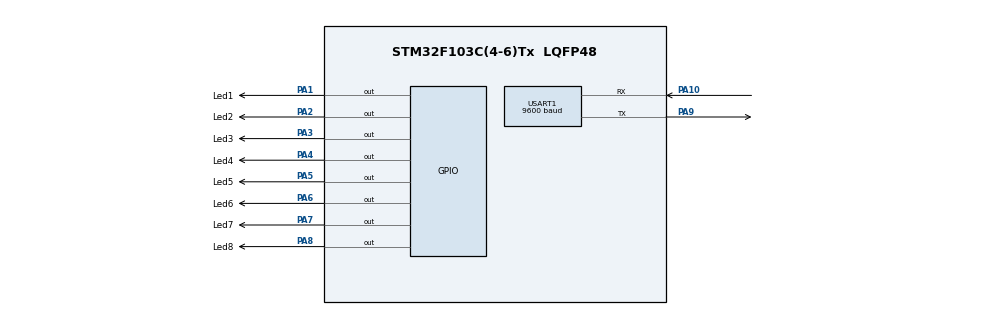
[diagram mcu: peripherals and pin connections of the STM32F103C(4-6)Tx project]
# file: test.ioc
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Mcu.Family=STM32F1
Mcu.Name=STM32F103C(4-6)Tx
Mcu.Package=LQFP48
NVIC.PriorityGroup=NVIC_PRIORITYGROUP_4
NVIC.USART1_IRQn=true\:0\:0\:false\:false\:true\:true\:true
PA1.GPIO_Label=Led1
PA1.Signal=GPIO_Output
PA10.Mode=Asynchronous
PA10.Signal=USART1_RX
PA13.Mode=Serial_Wire
PA13.Signal=SYS_JTMS-SWDIO
PA14.Mode=Serial_Wire
PA14.Signal=SYS_JTCK-SWCLK
PA2.GPIO_Label=Led2
PA2.Signal=GPIO_Output
PA3.GPIO_Label=Led3
PA3.Signal=GPIO_Output
PA4.GPIO_Label=Led4
PA4.Signal=GPIO_Output
PA5.GPIO_Label=Led5
PA5.Signal=GPIO_Output
PA6.GPIO_Label=Led6
PA6.Signal=GPIO_Output
PA7.GPIO_Label=Led7
PA7.Signal=GPIO_Output
PA8.GPIO_Label=Led8
PA8.Signal=GPIO_Output
PA9.Mode=Asynchronous
PA9.Signal=USART1_TX
ProjectManager.HeapSize=0x200
ProjectManager.StackSize=0x400
ProjectManager.TargetToolchain=MDK-ARM V5
RCC.APB1Freq_Value=8000000
RCC.APB2Freq_Value=8000000
USART1.BaudRate=9600
USART1.VirtualMode=VM_ASYNC
board=custom

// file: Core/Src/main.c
/* USER CODE BEGIN Header */
/**
  ******************************************************************************
  * @file           : main.c
  * @brief          : Main program body
  ******************************************************************************
  * @attention
  *
  * <h2><center>&copy; Copyright (c) 2023 STMicroelectronics.
  * All rights reserved.</center></h2>
  *
  * This software component is licensed by ST under BSD 3-Clause license,
  * the "License"; You may not use this file except in compliance with the
  * License. You may obtain a copy of the License at:
  *                        opensource.org/licenses/BSD-3-Clause
  *
  ******************************************************************************
  */
/* USER CODE END Header */
#include "main.h"

/* USER CODE BEGIN Includes */

uint8_t u8_TxBuff11[10] = "Led1 on ";
uint8_t u8_TxBuff10[10] = "Led1 off ";
uint8_t u8_TxBuff21[10] = "Led2 on ";
uint8_t u8_TxBuff20[10] = "Led2 off ";
uint8_t u8_TxBuff31[10] = "Led3 on ";
uint8_t u8_TxBuff30[10] = "Led3 off ";
uint8_t u8_TxBuff41[10] = "Led4 on ";
uint8_t u8_TxBuff40[10] = "Led4 off ";
uint8_t u8_TxBuff51[10] = "Led5 on ";
uint8_t u8_TxBuff50[10] = "Led5 off ";
uint8_t u8_TxBuff61[10] = "Led6 on ";
uint8_t u8_TxBuff60[10] = "Led6 off ";
uint8_t u8_TxBuff71[10] = "Led7 on ";
uint8_t u8_TxBuff70[10] = "Led7 off ";
uint8_t u8_TxBuff81[10] = "Led8 on ";
uint8_t u8_TxBuff80[10] = "Led8 off ";

volatile char RxBuff[15];
uint8_t Rx_Data;
volatile uint8_t rx_Index;
uint8_t Tx_flag=0;
/* USER CODE END Includes */

UART_HandleTypeDef huart1;

void SystemClock_Config(void);
static void MX_GPIO_Init(void);
static void MX_USART1_UART_Init(void);

int main(void)
{

  /* MCU Configuration--------------------------------------------------------*/

  /* Reset of all peripherals, Initializes the Flash interface and the Systick. */
  HAL_Init();

  /* Configure the system clock */
  SystemClock_Config();

  /* Initialize all configured peripherals */
  MX_GPIO_Init();
  MX_USART1_UART_Init();
  /* USER CODE BEGIN 2 */
	HAL_UART_Receive_IT(&huart1, &Rx_Data, 1);
	HAL_GPIO_WritePin(Led1_GPIO_Port,Led1_Pin,1);
	HAL_GPIO_WritePin(Led2_GPIO_Port,Led2_Pin,1);
	HAL_GPIO_WritePin(Led3_GPIO_Port,Led3_Pin,1);
	HAL_GPIO_WritePin(Led4_GPIO_Port,Led4_Pin,1);
	HAL_GPIO_WritePin(Led5_GPIO_Port,Led5_Pin,1);
	HAL_GPIO_WritePin(Led6_GPIO_Port,Led6_Pin,1);
	HAL_GPIO_WritePin(Led7_GPIO_Port,Led7_Pin,1);
	HAL_GPIO_WritePin(Led8_GPIO_Port,Led8_Pin,1);
  /* USER CODE END 2 */

  /* Infinite loop */
  while (1)
  {

    /* USER CODE BEGIN 3 */

		HAL_GPIO_WritePin(Led1_GPIO_Port,Led1_Pin,(uint8_t)RxBuff[0]-48);
		HAL_GPIO_WritePin(Led2_GPIO_Port,Led2_Pin,(uint8_t)RxBuff[1]-48);
		HAL_GPIO_WritePin(Led3_GPIO_Port,Led3_Pin,(uint8_t)RxBuff[2]-48);
		HAL_GPIO_WritePin(Led4_GPIO_Port,Led4_Pin,(uint8_t)RxBuff[3]-48);
		HAL_GPIO_WritePin(Led5_GPIO_Port,Led5_Pin,(uint8_t)RxBuff[4]-48);
		HAL_GPIO_WritePin(Led6_GPIO_Port,Led6_Pin,(uint8_t)RxBuff[5]-48);
		HAL_GPIO_WritePin(Led7_GPIO_Port,Led7_Pin,(uint8_t)RxBuff[6]-48);
		HAL_GPIO_WritePin(Led8_GPIO_Port,Led8_Pin,(uint8_t)RxBuff[7]-48);

  }
  /* USER CODE END 3 */
}

void SystemClock_Config(void)
{
  RCC_OscInitTypeDef RCC_OscInitStruct = {0};
  RCC_ClkInitTypeDef RCC_ClkInitStruct = {0};

  /** Initializes the RCC Oscillators according to the specified parameters
  * in the RCC_OscInitTypeDef structure.
  */
  RCC_OscInitStruct.OscillatorType = RCC_OSCILLATORTYPE_HSI;
  RCC_OscInitStruct.HSIState = RCC_HSI_ON;
  RCC_OscInitStruct.HSICalibrationValue = RCC_HSICALIBRATION_DEFAULT;
  RCC_OscInitStruct.PLL.PLLState = RCC_PLL_NONE;
  if (HAL_RCC_OscConfig(&RCC_OscInitStruct) != HAL_OK)
  {
    Error_Handler();
  }
  /** Initializes the CPU, AHB and APB buses clocks
  */
  RCC_ClkInitStruct.ClockType = RCC_CLOCKTYPE_HCLK|RCC_CLOCKTYPE_SYSCLK
                              |RCC_CLOCKTYPE_PCLK1|RCC_CLOCKTYPE_PCLK2;
  RCC_ClkInitStruct.SYSCLKSource = RCC_SYSCLKSOURCE_HSI;
  RCC_ClkInitStruct.AHBCLKDivider = RCC_SYSCLK_DIV1;
  RCC_ClkInitStruct.APB1CLKDivider = RCC_HCLK_DIV1;
  RCC_ClkInitStruct.APB2CLKDivider = RCC_HCLK_DIV1;

  if (HAL_RCC_ClockConfig(&RCC_ClkInitStruct, FLASH_LATENCY_0) != HAL_OK)
  {
    Error_Handler();
  }
}

static void MX_USART1_UART_Init(void)
{

  huart1.Instance = USART1;
  huart1.Init.BaudRate = 9600;
  huart1.Init.WordLength = UART_WORDLENGTH_8B;
  huart1.Init.StopBits = UART_STOPBITS_1;
  huart1.Init.Parity = UART_PARITY_NONE;
  huart1.Init.Mode = UART_MODE_TX_RX;
  huart1.Init.HwFlowCtl = UART_HWCONTROL_NONE;
  huart1.Init.OverSampling = UART_OVERSAMPLING_16;
  if (HAL_UART_Init(&huart1) != HAL_OK)
  {
    Error_Handler();
  }

}

static void MX_GPIO_Init(void)
{
  GPIO_InitTypeDef GPIO_InitStruct = {0};

  /* GPIO Ports Clock Enable */
  __HAL_RCC_GPIOC_CLK_ENABLE();
  __HAL_RCC_GPIOD_CLK_ENABLE();
  __HAL_RCC_GPIOA_CLK_ENABLE();
  __HAL_RCC_GPIOB_CLK_ENABLE();

  /*Configure GPIO pin Output Level */
  HAL_GPIO_WritePin(GPIOA, Led1_Pin|Led2_Pin|Led3_Pin|Led4_Pin
                          |Led5_Pin|Led6_Pin|Led7_Pin|Led8_Pin, GPIO_PIN_RESET);

  /*Configure GPIO pins : PC13 PC14 PC15 */
  GPIO_InitStruct.Pin = GPIO_PIN_13|GPIO_PIN_14|GPIO_PIN_15;
  GPIO_InitStruct.Mode = GPIO_MODE_ANALOG;
  HAL_GPIO_Init(GPIOC, &GPIO_InitStruct);

  /*Configure GPIO pins : PD0 PD1 */
  GPIO_InitStruct.Pin = GPIO_PIN_0|GPIO_PIN_1;
  GPIO_InitStruct.Mode = GPIO_MODE_ANALOG;
  HAL_GPIO_Init(GPIOD, &GPIO_InitStruct);

  /*Configure GPIO pins : PA0 PA11 PA12 PA15 */
  GPIO_InitStruct.Pin = GPIO_PIN_0|GPIO_PIN_11|GPIO_PIN_12|GPIO_PIN_15;
  GPIO_InitStruct.Mode = GPIO_MODE_ANALOG;
  HAL_GPIO_Init(GPIOA, &GPIO_InitStruct);

  /*Configure GPIO pins : Led1_Pin Led2_Pin Led3_Pin Led4_Pin
                           Led5_Pin Led6_Pin Led7_Pin Led8_Pin */
  GPIO_InitStruct.Pin = Led1_Pin|Led2_Pin|Led3_Pin|Led4_Pin
                          |Led5_Pin|Led6_Pin|Led7_Pin|Led8_Pin;
  GPIO_InitStruct.Mode = GPIO_MODE_OUTPUT_PP;
  GPIO_InitStruct.Pull = GPIO_NOPULL;
  GPIO_InitStruct.Speed = GPIO_SPEED_FREQ_LOW;
  HAL_GPIO_Init(GPIOA, &GPIO_InitStruct);

  /*Configure GPIO pins : PB0 PB1 PB2 PB10
                           PB11 PB12 PB13 PB14
                           PB15 PB3 PB4 PB5
                           PB6 PB7 PB8 PB9 */
  GPIO_InitStruct.Pin = GPIO_PIN_0|GPIO_PIN_1|GPIO_PIN_2|GPIO_PIN_10
                          |GPIO_PIN_11|GPIO_PIN_12|GPIO_PIN_13|GPIO_PIN_14
                          |GPIO_PIN_15|GPIO_PIN_3|GPIO_PIN_4|GPIO_PIN_5
                          |GPIO_PIN_6|GPIO_PIN_7|GPIO_PIN_8|GPIO_PIN_9;
  GPIO_InitStruct.Mode = GPIO_MODE_ANALOG;
  HAL_GPIO_Init(GPIOB, &GPIO_InitStruct);

  /*Configure peripheral I/O remapping */
  __HAL_AFIO_REMAP_PD01_ENABLE();

}

/* USER CODE BEGIN 4 */
void HAL_UART_RxCpltCallback(UART_HandleTypeDef *huart)
{
  /* Prevent unused argument(s) compilation warning */
  UNUSED(huart);
	if(huart->Instance == USART1)
	{
		if(Rx_Data == 0x7E)
			{
				rx_Index = 0;
				char RxBuff[15] = "";

			}
			else
			{
				++rx_Index;
				RxBuff[rx_Index-1] = Rx_Data;
				if(Rx_Data == 0x0A)
					{
						HAL_UART_Transmit(&huart1, (uint8_t *)&RxBuff, 15,100);
					}
			}

		HAL_UART_Receive_IT(&huart1, &Rx_Data, 1);
	}
}

/* USER CODE END 4 */

void Error_Handler(void)
{
}

/************************ (C) COPYRIGHT STMicroelectronics *****END OF FILE****/
